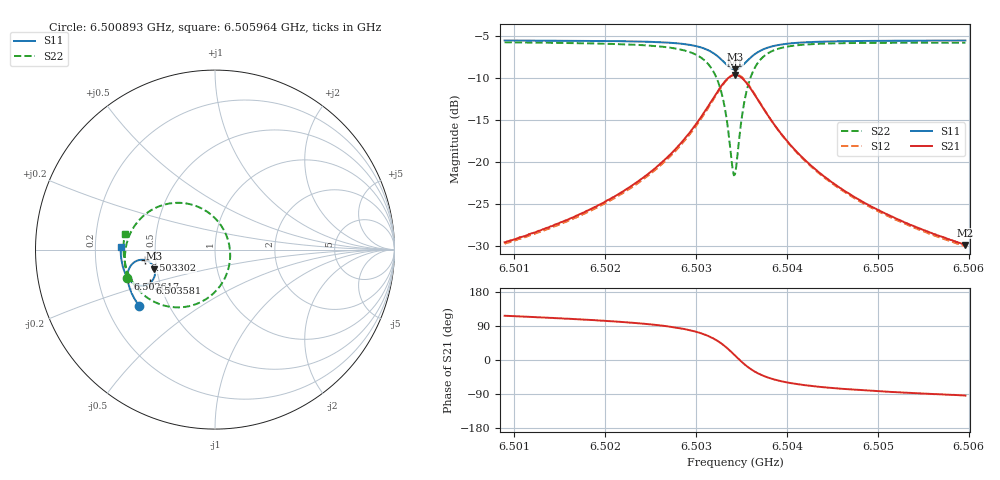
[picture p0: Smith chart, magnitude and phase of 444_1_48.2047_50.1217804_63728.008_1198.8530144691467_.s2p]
#  HZ  S  RI  R  50.00
! Rohde & Schwarz Vector Network Analyzer
! Rohde-Schwarz,ZNB20-2Port,1311601062101988,3.16
! Created: UTC 3/20/2024, 11:55:57 AM
! freq[Hz]  re:S11  im:S11  re:S21  im:S21  re:S12  im:S12  re:S22  im:S22
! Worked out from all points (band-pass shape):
!   401 points, 6.500893 GHz to 6.505964 GHz, reference 50 ohm
!   highest |S21| = -9.67 dB at 6.503429 GHz (marker M1); lowest = -29.9 dB at 6.505964 GHz (marker M2)
!   |S21| within 3 dB of the highest: 6.503176 GHz to 6.503683 GHz (506.8 kHz wide, 0.00779 % of centre)
!   lowest |S11| = -9.0 dB at 6.503429 GHz (marker M3), VSWR 2.10, Z = 24.3 - j5.94 ohm
!   |S11| at or under -10 dB: nowhere
!   |S22| runs from -21.6 to -5.8 dB; largest |S21 - S12| = 0.011
!   S11 on the Smith chart (normalised r, x): 6.500893 GHz: 0.34, -0.29; 6.502617 GHz: 0.33, -0.15; 6.503302 GHz: 0.44, -0.06; 6.503581 GHz: 0.44, -0.20; 6.505964 GHz: 0.31, +0.01
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6.5008928e9  -0.4239 -0.3124  -0.015 0.0297  -0.0132 0.0298  -0.4878 -0.1603
6.5017423e9  -0.4608 -0.2501  -0.0143 0.0472  -0.0119 0.0468  -0.5019 -0.0708
6.5021987e9  -0.4772 -0.21  -0.0117 0.0658  -0.00873 0.0649  -0.4997 -0.00693
6.5025918e9  -0.4866 -0.1671  -0.00261 0.0956  0.00112 0.0935  -0.4805 0.07
6.5026171e9  -0.487 -0.1638  -0.00144 0.0985  0.00219 0.0961  -0.4781 0.0764
6.5029087e9  -0.4834 -0.1192  0.0256 0.1421  0.0293 0.1377  -0.422 0.1652
6.5030989e9  -0.4623 -0.081  0.0791 0.1842  0.0816 0.178  -0.3197 0.2377
6.503213e9  -0.43 -0.0602  0.1475 0.2019  0.1485 0.1956  -0.1963 0.2607
6.5033018e9  -0.3897 -0.0585  0.2266 0.1863  0.2271 0.1811  -0.0598 0.2212
6.5033398e9  -0.3706 -0.0659  0.2631 0.1634  0.264 0.1588  0.000321 0.1749
6.5034032e9  -0.3436 -0.0924  0.311 0.0999  0.3136 0.0948  0.0728 0.0527
6.5034285e9  -0.3374 -0.107  0.3214 0.0677  0.3245 0.062  0.0839 -0.00709
6.5034539e9  -0.3343 -0.1227  0.3251 0.0341  0.3286 0.0271  0.0823 -0.0685
6.5035173e9  -0.3413 -0.1597  0.3073 -0.0438  0.3096 -0.0539  0.0276 -0.2039
6.5035807e9  -0.3624 -0.1858  0.2646 -0.0981  0.2636 -0.1094  -0.0686 -0.287
6.5036821e9  -0.4018 -0.2013  0.19 -0.1344  0.1846 -0.1441  -0.2187 -0.3218
6.5038469e9  -0.448 -0.1917  0.1084 -0.1315  0.1016 -0.1367  -0.3658 -0.2756
6.5040244e9  -0.4754 -0.1703  0.0639 -0.1114  0.0577 -0.1139  -0.4379 -0.2107
6.504278e9  -0.4961 -0.1403  0.0339 -0.0874  0.0292 -0.0878  -0.4812 -0.1388
6.5046837e9  -0.5124 -0.0983  0.0142 -0.063  0.0109 -0.0627  -0.5045 -0.06
6.5051275e9  -0.5211 -0.0575  0.00512 -0.0478  0.00282 -0.0471  -0.5099 0.00143
6.5059642e9  -0.526 0.0133  -0.00219 -0.032  -0.00342 -0.0313  -0.502 0.0897
